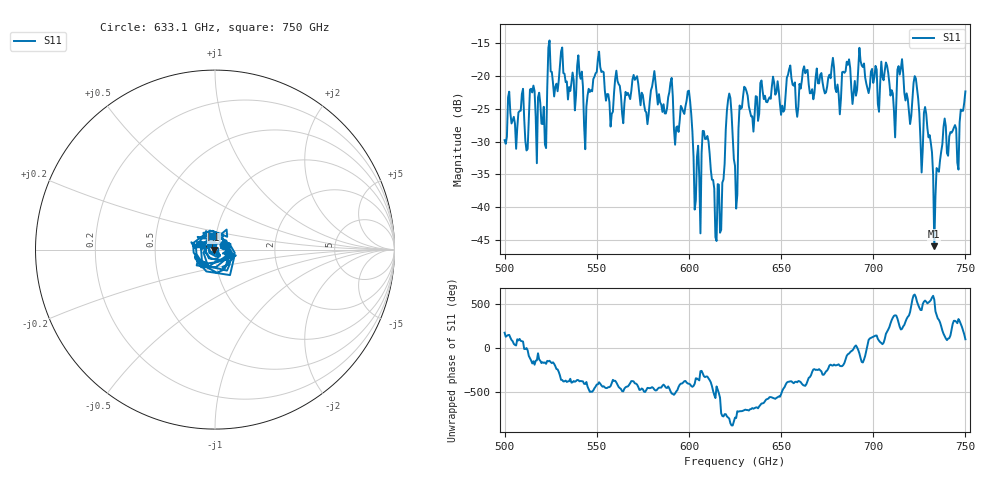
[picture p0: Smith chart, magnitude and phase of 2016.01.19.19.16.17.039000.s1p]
!Created with skrf (http://scikit-rf.org).
# GHz S RI R 50.0
!freq ReS11 ImS11
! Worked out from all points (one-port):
!   401 points, 500 GHz to 750 GHz, reference 50 ohm
!   lowest |S11| = -46.0 dB at 733.1 GHz (marker M1), VSWR 1.01, Z = 49.5 - j0.105 ohm
!   |S11| at or under -10 dB: start of sweep to end of sweep
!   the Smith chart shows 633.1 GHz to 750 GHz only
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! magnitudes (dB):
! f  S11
! 500 GHz  -29.8
! 508.8 GHz  -25.3
! 511.9 GHz  -31.4
! 515 GHz  -22.5
! 521.2 GHz  -24.7
! 524.4 GHz  -14.5
! 531.2 GHz  -15.6
! 543.8 GHz  -31.2
! 550.6 GHz  -17.3
! 562.5 GHz  -21.5
! 590 GHz  -21.0
! 593.8 GHz  -27.7
! 600 GHz  -22.2
! 603.1 GHz  -40.4
! 609.4 GHz  -29.6
! 615.6 GHz  -36.5
! 621.9 GHz  -22.7
! 625 GHz  -33.7
! 630.6 GHz  -21.8
! 656.2 GHz  -21.3
! 687.5 GHz  -18.8
! 707.5 GHz  -18.4
! 711.2 GHz  -25.3
! 714.4 GHz  -19.8
! 718.8 GHz  -23.5
! 723.1 GHz  -20.4
! 733.1 GHz  -46.0
! 750 GHz  -22.3
